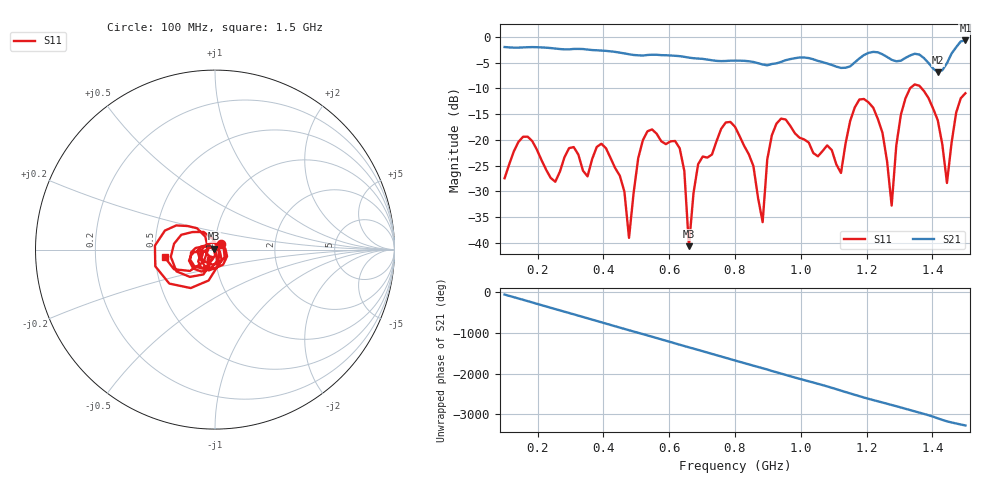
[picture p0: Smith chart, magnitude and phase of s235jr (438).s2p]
! NanoVNA-App
! Date: 2025-09-25 15:07:34
! Start: 100MHz Stop: 1,5GHz Points: 101
! S-Parameter data: F S11 S21 S12 S22
# Hz S RI R 50
!  Frequency  S11_Real  S11_Imag  S21_Real  S21_Imag  S12_Real  S12_Imag  S22_Real  S22_Imag
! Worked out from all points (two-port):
!   101 points, 100 MHz to 1.5 GHz, reference 50 ohm
!   highest |S21| = -0.69 dB at 1.5 GHz (marker M1); lowest = -6.9 dB at 1.416 GHz (marker M2)
!   |S21| within 3 dB of the highest: start of sweep to 622 MHz; 1.188 GHz to 1.256 GHz (68.14 MHz wide, 5.57 % of centre) (the widest 2 of 4)
!   lowest |S11| = -40.7 dB at 660 MHz (marker M3), VSWR 1.02, Z = 49.3 + j0.58 ohm
!   |S11| at or under -10 dB: start of sweep to 1.332 GHz; 1.367 GHz to end of sweep
!   S12 and S22 are empty: the file has one direction only
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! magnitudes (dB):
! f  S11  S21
! 100 MHz  -27.5  -2.0
! 156 MHz  -19.4  -2.0
! 338 MHz  -26.0  -2.4
! 408 MHz  -21.6  -2.7
! 478 MHz  -39.1  -3.4
! 520 MHz  -20.1  -3.6
! 576 MHz  -20.3  -3.5
! 632 MHz  -21.6  -3.7
! 660 MHz  -40.7  -4.0
! 688 MHz  -24.7  -4.2
! 800 MHz  -17.5  -4.6
! 884 MHz  -36.0  -5.4
! 926 MHz  -16.8  -5.1
! 1.038 GHz  -22.6  -4.3
! 1.122 GHz  -26.4  -6.0
! 1.192 GHz  -12.1  -3.5
! 1.248 GHz  -18.6  -3.4
! 1.276 GHz  -32.8  -4.4
! 1.332 GHz  -10.0  -3.6
! 1.416 GHz  -16.2  -6.9
! 1.444 GHz  -28.4  -5.1
! 1.5 GHz  -10.9  -0.7
